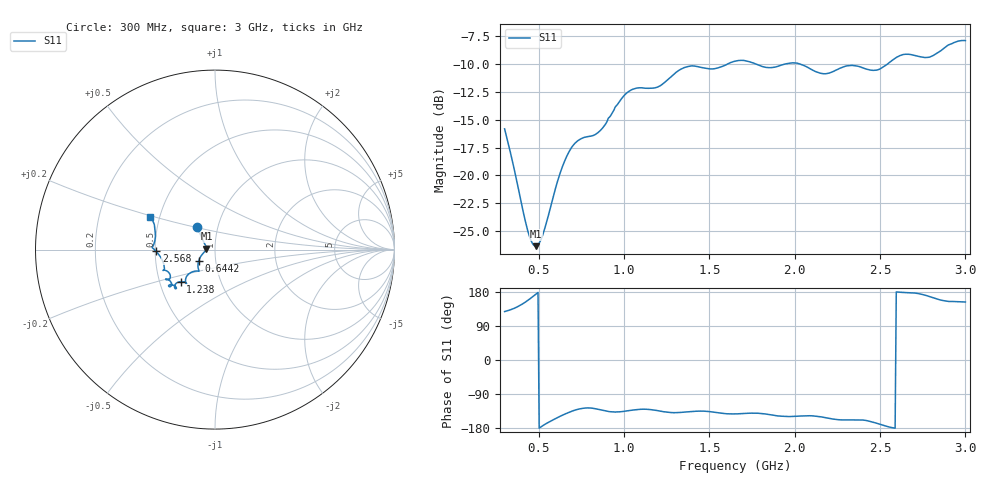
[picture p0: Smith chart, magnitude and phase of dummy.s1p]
# HZ S RI R 50
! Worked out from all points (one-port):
!   401 points, 300 MHz to 3 GHz, reference 50 ohm
!   lowest |S11| = -26.4 dB at 482.2 MHz (marker M1), VSWR 1.10, Z = 45.4 + j0.495 ohm
!   |S11| at or under -10 dB: start of sweep to 1.604 GHz; 1.774 GHz to 1.94 GHz (166 MHz wide, 8.94 % of centre); 2.033 GHz to 2.543 GHz (509.7 MHz wide, 22.3 % of centre)
!   S11 on the Smith chart (normalised r, x): 300 MHz: 0.80, +0.21; 644.2 MHz: 0.83, -0.11; 1.238 GHz: 0.64, -0.25; 2.568 GHz: 0.51, -0.01; 3 GHz: 0.44, +0.19
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3e8  -0.099 0.1279
3.3375e8  -0.0856 0.0936
4.35e8  -0.052 0.0221
4.62e8  -0.0481 0.0117
4.8225e8  -0.0477 0.00543
5.2275e8  -0.0534 -0.00599
6.375e8  -0.0901 -0.0609
6.4425e8  -0.0913 -0.0651
7.1175e8  -0.0938 -0.103
8.6025e8  -0.1048 -0.1194
9.75e8  -0.1572 -0.1479
1.04925e9  -0.1638 -0.1803
1.1505e9  -0.1607 -0.1867
1.23825e9  -0.1912 -0.179
1.31925e9  -0.2223 -0.1953
1.3935e9  -0.2236 -0.2154
1.49475e9  -0.2164 -0.2102
1.65e9  -0.2579 -0.1996
1.84575e9  -0.246 -0.1806
1.9875e9  -0.2748 -0.1652
2.16975e9  -0.2512 -0.1374
2.33175e9  -0.2896 -0.1164
2.4735e9  -0.2879 -0.072
2.568e9  -0.3273 -0.00973
2.6625e9  -0.3501 0.0127
2.79075e9  -0.3319 0.075
2.892e9  -0.3468 0.1601
3e9  -0.3598 0.1827
